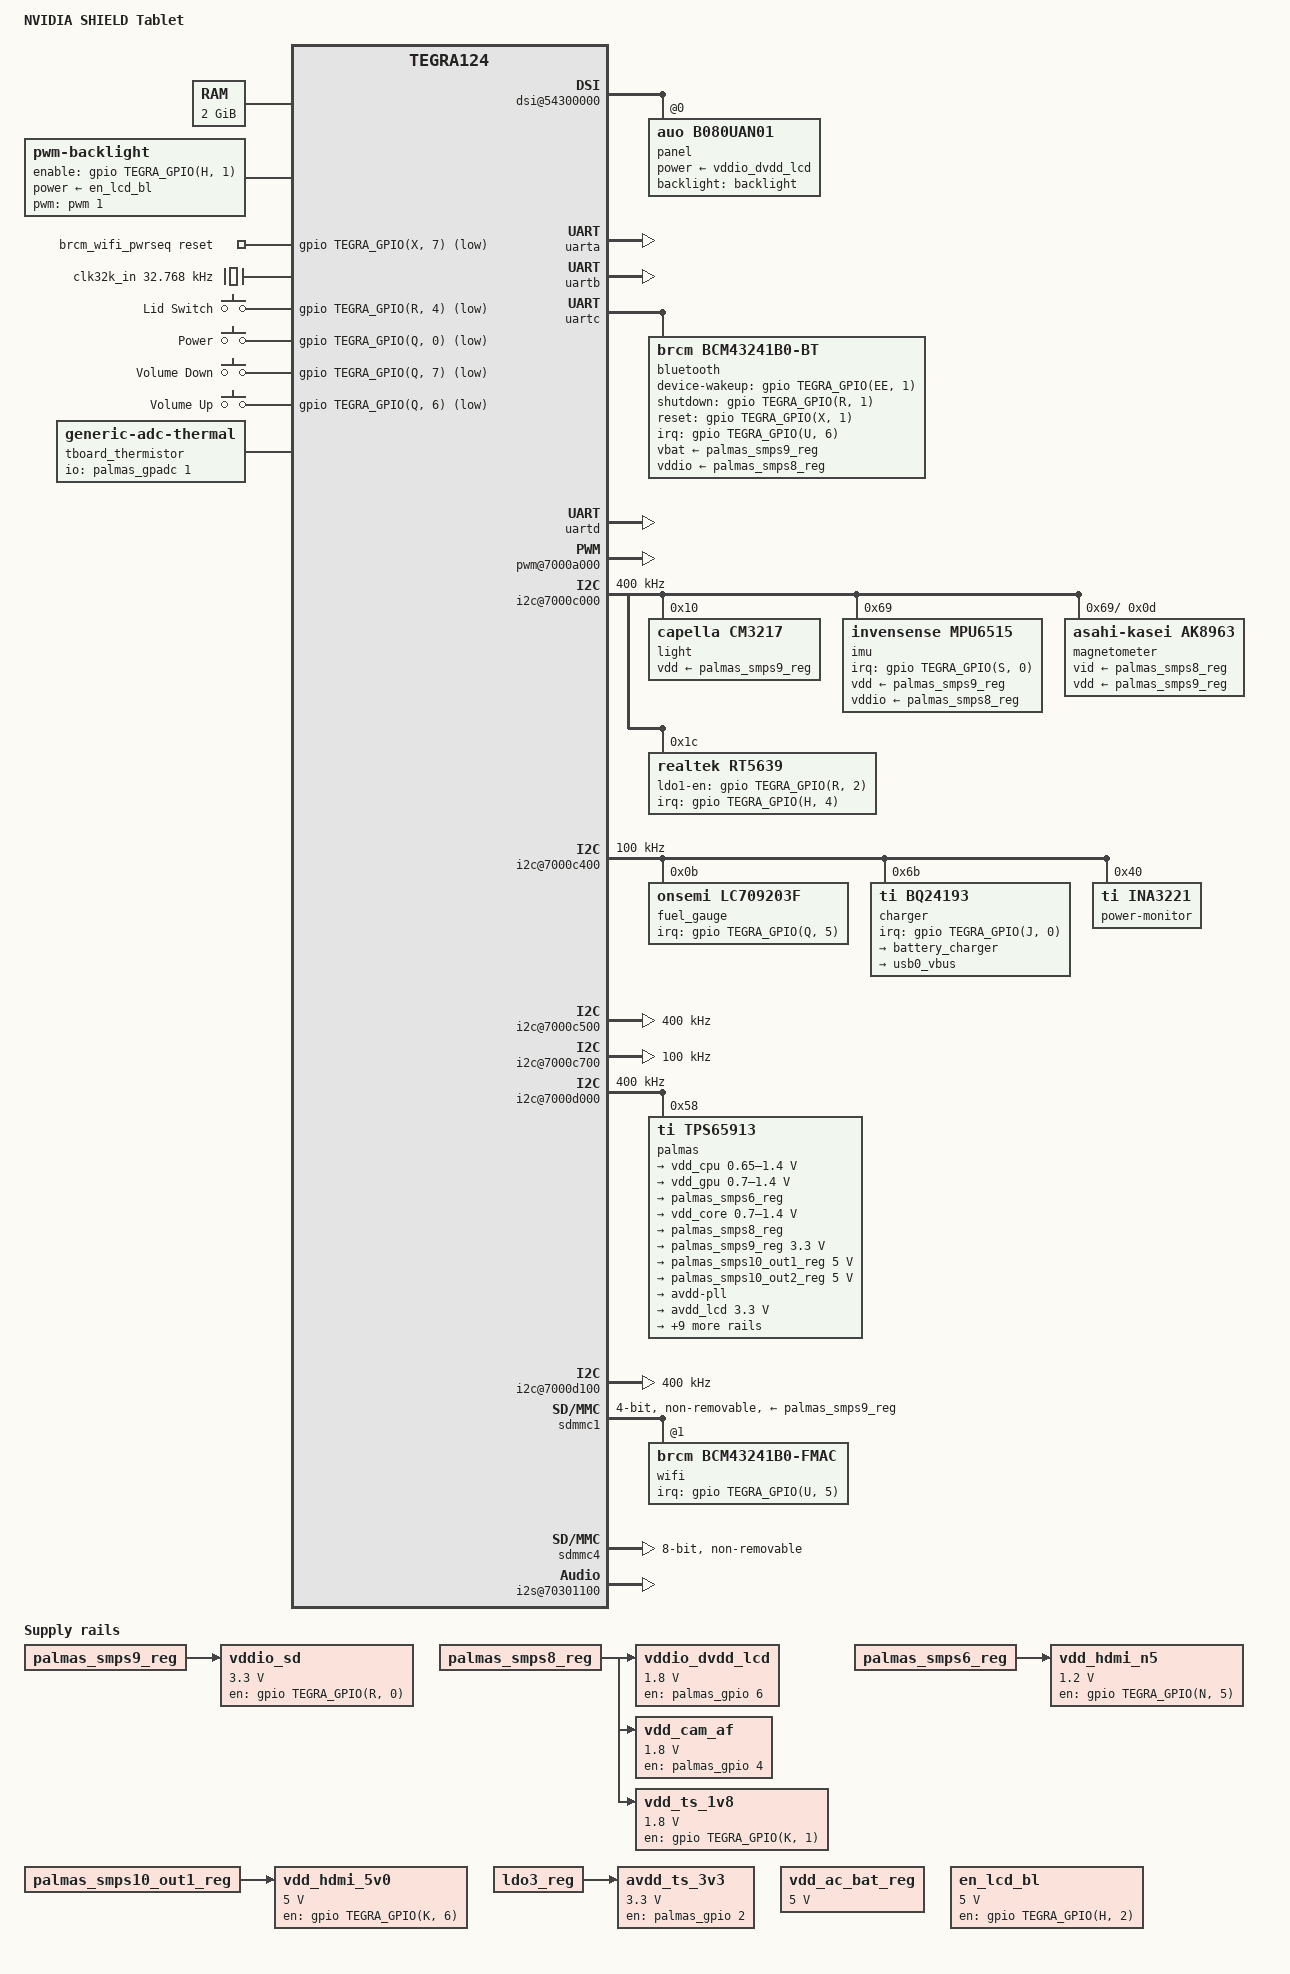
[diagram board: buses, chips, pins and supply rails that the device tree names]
// SPDX-License-Identifier: GPL-2.0
/dts-v1/;

#include <dt-bindings/input/input.h>
#include <dt-bindings/thermal/thermal.h>
#include <dt-bindings/sound/rt5640.h>

/* tegra124 */
#include "tegra124.dtsi"
/* tn8 */
#include "tegra124-tn8-emc.dtsi"
#include "tegra124-tn8-pinmux.dtsi"

/ {
	model = "NVIDIA SHIELD Tablet";
	compatible = "nvidia,tn8", "nvidia,tegra124";
	chassis-type = "tablet";

	aliases {
		mmc0 = &sdmmc4; /* eMMC */
		mmc1 = &sdmmc1; /* WiFi */

		rtc0 = &palmas;
		rtc1 = "/rtc@0,7000e000";

		serial0 = &uartd; /* Console */
		serial1 = &uartc; /* Bluetooth */

		serial2 = &uarta;
		serial3 = &uartb;
	};

	chosen {
		stdout-path = "serial0:115200n8";
		bootargs = "panic=5 loglevel=7 fbcon=rotate:3 gpt clk_ignore_unused root=/dev/mmcblk0p23 rw rootwait rootflags=defaults,noatime,nodiratime loop=media/0/Linux/archlinux.img loopflags=compress=zstd:3,commit=120,discard=async,noatime,nodiratime";
		/* NVIDIA moment. God why is the SHIELD bootloader like this ??? */
		linux,initrd-start = <0x81680000>;
		linux,initrd-end = <0x82800000>;
	};

	memory@80000000 {
		reg = <0x0 0x80000000 0x0 0x80000000>;
	};

	/* Another NVIDIA SHIELD bootloader moment */
	reserved-memory {
		#address-cells = <2>;
		#size-cells = <2>;
		ranges;

		bootloader_fb: bootloader-framebuffer@ad012000 {
			reg = <0x0 0xad012000 0x0 0x011e0000>;
			no-map;
		};

		framebuffer: framebuffer@f7c00000 {
			reg = <0x0 0xf7c00000 0x0 0x01200000>;
			no-map;
		};

		framebuffer2: framebuffer2@f8e00000 {
			reg = <0x0 0xf8e00000 0x0 0x04800000>;
			no-map;
		};

		nck: nck@fd700000 {
			reg = <0x0 0xfd700000 0x0 0x00100000>;
			no-map;
		};

		/* Downstream doesn't mention this area in its dmesg, but I was unable to remove it without causing a crash. */
		/* Oh well, it's 8.32 MB */
		would_be_freed_fd800000: would-be-freed@fd800000 {
			reg = <0x0 0xfd800000 0x0 0x007f0000>;
			no-map;
		};

		lp0: lp0@fdfff000 {
			reg = <0x0 0xfdfff000 0x0 0x00000820>;
			no-map;
		};

		tsec: tsec@fe000000 {
			reg = <0x0 0xfe000000 0x0 0x02000000>;
			no-map;
		};
	};

	backlight: backlight {
		compatible = "pwm-backlight"; // CONFIG_BACKLIGHT_PWM
		pwms = <&pwm 1 40000>;

		brightness-levels = <0 4 8 16 32 64 128 255>;
		default-brightness-level = <6>;

		power-supply = <&en_lcd_bl>;
		enable-gpios = <&gpio TEGRA_GPIO(H, 1) GPIO_ACTIVE_HIGH>;
	};

	// UNFINISHED
	host1x@50000000 {
		dsi@54300000 {
			status = "okay";

			avdd-dsi-csi-supply = <&ldo5_reg>;

			panel@0 {
				compatible = "auo,b080uan01"; // CONFIG_DRM_PANEL_SIMPLE
				reg = <0>;

				//avdd-supply = <&avdd_lcd>;
				power-supply = <&vddio_dvdd_lcd>;

				backlight = <&backlight>;
			};
		};
	};

	gpu@57000000 {
		status = "okay";
		vdd-supply = <&vdd_gpu>;
	};

	// UNKNOWN
	uarta: serial@70006000 {
		status = "okay";
		compatible = "nvidia,tegra124-hsuart"; // CONFIG_SERIAL_TEGRA
	};

	// UNKNOWN
	uartb: serial@70006040 {
		status = "okay";
		compatible = "nvidia,tegra124-hsuart"; // CONFIG_SERIAL_TEGRA
	};

	/* Bluetooth */
	uartc: serial@70006200 {
		compatible = "nvidia,tegra124-hsuart", "nvidia,tegra30-hsuart"; // CONFIG_SERIAL_TEGRA
		reset-names = "serial";
		/delete-property/ reg-shift;
		status = "okay";

		nvidia,adjust-baud-rates = <0 9600 100>,
					   <9600 115200 200>,
					   <1000000 4000000 136>;

		/*
			Will only function from a restart from downstream kernel for now.
			
			Note :
			- Copy /system/etc/firmware/bcm43241.hcd into /lib/firmware/brcm/BCM4334B0.nvidia,tn8.hcd in initramfs.
		*/
		bluetooth {
			compatible = "brcm,bcm43241b0-bt", "brcm,bcm4334-bt"; // CONFIG_BT_HCIUART_BCM
			max-speed = <4000000>;

			clocks = <&tegra_pmc TEGRA_PMC_CLK_BLINK>;
			clock-names = "txco";

			interrupt-parent = <&gpio>;
			interrupts = <TEGRA_GPIO(U, 6) IRQ_TYPE_EDGE_RISING>;
			interrupt-names = "host-wakeup";

			device-wakeup-gpios = <&gpio TEGRA_GPIO(EE, 1) GPIO_ACTIVE_HIGH>;
			shutdown-gpios = <&gpio TEGRA_GPIO(R, 1) GPIO_ACTIVE_HIGH>;
			reset-gpios = <&gpio TEGRA_GPIO(X, 1) GPIO_ACTIVE_HIGH>;

			vbat-supply = <&palmas_smps9_reg>;
			vddio-supply = <&palmas_smps8_reg>;
		};
	};

	// Console
	uartd: serial@70006300 {
		status = "okay";
		compatible = "nvidia,tegra124-uart"; // CONFIG_SERIAL_8250_TEGRA
	};

	pwm@7000a000 {
		status = "okay";
	};

	i2c@7000c000 {
		status = "okay";
		clock-frequency = <400000>;

		// Couldn't get that to work with cm3232 or cm32181
		light@10 {
			compatible = "capella,cm3217";
			reg = <0x10>;
			vdd-supply = <&palmas_smps9_reg>;
		};

		imu@69 {
			compatible = "invensense,mpu6515"; // CONFIG_INV_MPU6050_I2C
			reg = <0x69>;

			interrupt-parent = <&gpio>;
			interrupts = <TEGRA_GPIO(S, 0) IRQ_TYPE_EDGE_RISING>;

			vdd-supply   = <&palmas_smps9_reg>;
			vddio-supply = <&palmas_smps8_reg>;
			mount-matrix = "-1", "0",  "0",
						"0",  "1",  "0",
						"0",  "0", "-1";

			i2c-gate {
				#address-cells = <1>;
				#size-cells = <0>;

				magnetometer@d {
					compatible = "asahi-kasei,ak8963"; // CONFIG_AK8975
					reg = <0x0d>;

					vid-supply = <&palmas_smps8_reg>;
					vdd-supply = <&palmas_smps9_reg>;

					mount-matrix = "-1", "0",  "0",
								"0",  "1",  "0",
								"0",  "0", "-1";
				};
			};
		};

		rt5639: audio-codec@1c {
			compatible = "realtek,rt5639"; // CONFIG_SND_SOC_TEGRA_RT5640
			reg = <0x1c>;

			interrupt-parent = <&gpio>;
			interrupts = <TEGRA_GPIO(H, 4) IRQ_TYPE_EDGE_FALLING>;

			realtek,dmic1-data-pin = <RT5640_DMIC1_DATA_PIN_IN1P>;
			realtek,ldo1-en-gpios = <&gpio TEGRA_GPIO(R, 2) GPIO_ACTIVE_HIGH>;
			realtek,jack-detect-source = <RT5640_JD_SRC_HDA_HEADER>;
		};
	};

	// UNFINISHED
	i2c@7000c400 {
		status = "okay";
		clock-frequency = <100000>;

		// max17048@36 mentioned in downstream DTS but disabled.

		fuel_gauge: fuel-gauge@0b {
			compatible = "onsemi,lc709203f"; // CONFIG_FUEL_GAUGE_LC709203F
			reg = <0x0b>;

			interrupt-parent = <&gpio>;
			interrupts = <TEGRA_GPIO(Q, 5) IRQ_TYPE_NONE>;

			// Add monitored-battery ?
			power-supplies = <&charger>;

			onsemi,thermistor-beta = <3435>;
			onsemi,alert-low-rsoc = <0>;
			onsemi,alert-low-voltage = <0>;
		};

		charger: charger@6b {
			compatible = "ti,bq24193", "ti,bq24192"; // CONFIG_CHARGER_BQ24190
			reg = <0x6b>;

			interrupt-parent = <&gpio>;
			interrupts = <TEGRA_GPIO(J, 0) GPIO_ACTIVE_LOW>;

			omit-battery-class;
			// Add monitored-battery ?

			battery_charger: charger {
				regulator-name = "batt_regulator";
			};

			usb0_vbus: usb-otg-vbus {
				regulator-name = "vbus_regulator";
			};
		};

		power-monitor@40 {
			compatible = "ti,ina3221"; // CONFIG_SENSORS_INA3221
			reg = <0x40>;
			#address-cells = <1>;
			#size-cells = <0>;

			channel@0 {
				reg = <0x0>;
				label = "VDD_BAT";
				shunt-resistor-micro-ohms = <1000>;
			};

			channel@1 {
				reg = <0x1>;
				label = "VDD_USB_5V0";
				shunt-resistor-micro-ohms = <10000>;
			};

			channel@2 {
				reg = <0x2>;
				label = "VDD_SYS_MDM";
				shunt-resistor-micro-ohms = <1000>;
			};
		};
	};

	i2c@7000c500 {
		status = "okay";
		clock-frequency = <400000>;
	};

	i2c@7000c700 {
		status = "okay";
		clock-frequency = <100000>;
	};

	i2c@7000d000 {
		status = "okay";
		clock-frequency = <400000>;

		palmas: pmic@58 {
			compatible = "ti,tps65913", "ti,palmas"; // CONFIG_PINCTRL_PALMAS
			reg = <0x58>;
			interrupts = <GIC_SPI 86 IRQ_TYPE_LEVEL_HIGH>;

			#interrupt-cells = <2>;
			interrupt-controller;

			ti,system-power-controller;

			palmas_gpadc: adc {
				compatible = "ti,palmas-gpadc"; // CONFIG_PALMAS_GPADC
				interrupts = <18 IRQ_TYPE_NONE
						  16 IRQ_TYPE_NONE
						  17 IRQ_TYPE_NONE>;

				ti,channel0-current-microamp = <5>;
				ti,channel3-current-microamp = <400>;
				ti,enable-extended-delay;

				#io-channel-cells = <1>;
			};

			palmas_extcon: extcon {
				compatible = "ti,palmas-usb-vid"; // CONFIG_EXTCON_PALMAS

				ti,enable-vbus-detection;
				ti,enable-id-detection;

				ti,wakeup;
			};

			palmas_gpio: gpio {
				compatible = "ti,palmas-gpio"; // CONFIG_GPIO_PALMAS
				gpio-controller;
				#gpio-cells = <2>;
			};

			clk32kg_pmic: palmas-clk32k@0 {
				compatible = "ti,palmas-clk32kg"; // CONFIG_COMMON_CLK_PALMAS
				#clock-cells = <0>;
			};

			palmas_clk32k@1 {
				compatible = "ti,palmas-clk32kgaudio"; // CONFIG_COMMON_CLK_PALMAS
				#clock-cells = <0>;
			};

			pinmux {
				compatible = "ti,tps65913-pinctrl"; // CONFIG_PINCTRL_PALMAS

				pinctrl-names = "default";
				pinctrl-0 = <&palmas_default>;

				palmas_default: pinmux {
					powergood {
						pins = "powergood";
						function = "powergood";
					};

					vac {
						pins = "vac";
						function = "vac";
					};

					pin_gpio0 {
						pins = "gpio0";
						function = "id";
						bias-pull-up;
					};

					pin_gpio1 {
						pins = "gpio1";
						function = "gpio";
						bias-disable;
					};

					pin_gpio6 {
						pins = "gpio2", "gpio3", "gpio4", "gpio6", "gpio7";
						function = "gpio";
					};

					pin_gpio5 {
						pins = "gpio5";
						function = "clk32kgaudio";
					};
				};
			};

			pmic {
				compatible = "ti,tps65913-pmic", "ti,palmas-pmic"; // CONFIG_REGULATOR_PALMAS
				ldo1-in-supply = <&palmas_smps6_reg>;
				ldo5-in-supply = <&palmas_smps8_reg>;
				ldo9-in-supply = <&palmas_smps9_reg>;
				ldoln-in-supply = <&palmas_smps10_out2_reg>;
				ldousb-in-supply = <&palmas_smps10_out2_reg>;

				regulators {
					/* CPU core voltage (SMPS123, 0.65–1.4V) */
					vdd_cpu: smps123 {
						regulator-name = "vdd-cpu";
						regulator-min-microvolt = <650000>;
						regulator-max-microvolt = <1400000>;
						regulator-always-on;
						regulator-boot-on;
					};

					/* GPU core voltage (SMPS45, 0.7–1.4V) */
					vdd_gpu: smps45 {
						regulator-name = "vdd-gpu";
						regulator-min-microvolt = <700000>;
						regulator-max-microvolt = <1400000>;
						regulator-init-microvolt = <1000000>;
						regulator-always-on; // --- Could be necessary
						//regulator-boot-on;
					};

					/* DDR voltage (SMPS6, fixed 1.35V) */
					palmas_smps6_reg: smps6 {
						regulator-name = "vddio-ddr";
						// regulator-min-microvolt = <1350000>;
						// regulator-max-microvolt = <1350000>;
						regulator-always-on;
						regulator-boot-on;
					};

					/* SoC core voltage (SMPS7, 0.7–1.4V) */
					vdd_core: smps7 {
						regulator-name = "vdd-core";
						regulator-min-microvolt = <700000>;
						regulator-max-microvolt = <1400000>;
						regulator-always-on;
						regulator-boot-on;
					};

					/* 1.8V I/O rail (SMPS8) */
					palmas_smps8_reg: smps8 {
						regulator-name = "vdd-1v8";
						//regulator-min-microvolt = <1800000>;
						//regulator-max-microvolt = <1800000>;
						regulator-always-on;
						regulator-boot-on;
					};

					/* 3.3V sensor / SDMMC3 rail (SMPS9) */
					palmas_smps9_reg: smps9 {
						regulator-name = "vdd-snsr";
						regulator-min-microvolt = <3300000>;
						regulator-max-microvolt = <3300000>;
						regulator-always-on;
						regulator-boot-on;
					};

					/* 5V output 1 (SMPS10_OUT1) */
					palmas_smps10_out1_reg: smps10_out1 {
						regulator-name = "vdd-out1-5v0";
						regulator-min-microvolt = <5000000>;
						regulator-max-microvolt = <5000000>;
					};

					/* 5V output 2 (SMPS10_OUT2) */
					palmas_smps10_out2_reg: smps10_out2 {
						regulator-name = "vdd-out2-5v0";
						regulator-min-microvolt = <5000000>;
						regulator-max-microvolt = <5000000>;
					};

					/* PLL supply (LDO1, 1.05V) */
					ldo1 {
						regulator-name = "avdd-pll";
						//regulator-min-microvolt = <1050000>;
						//regulator-max-microvolt = <1050000>;
						regulator-always-on;
						regulator-boot-on;
					};

					/* LCD AVDD / touch analogue (LDO2, 3.3V) */
					avdd_lcd: ldo2 {
						regulator-name = "avdd-lcd";
						regulator-min-microvolt = <3300000>;
						regulator-max-microvolt = <3300000>;
						regulator-boot-on;
						regulator-always-on; // TEMPORARY
					};

					/* Touch supply (LDO3, 3.0V) */
					ldo3_reg: ldo3 {
						regulator-name = "vdd-touch";
						regulator-min-microvolt = <3300000>;
						regulator-max-microvolt = <3300000>;
						regulator-enable-ramp-delay = <3000>;
						ti,disable-pull-down;
					};

					/* Camera AVDD (LDO4, 2.7V) */
					ldo4 {
						regulator-name = "avdd-cam1";
						regulator-min-microvolt = <2700000>;
						regulator-max-microvolt = <2700000>;
					};

					/* DSI/CSI supply (LDO5, 1.2V) */
					ldo5_reg: ldo5 {
						regulator-name = "avdd-dsi-csi";
						//regulator-min-microvolt = <1200000>;
						//regulator-max-microvolt = <1200000>;
						regulator-always-on; // TEMPORARY
						regulator-boot-on; // TEMPORARY
					};

					/* Fuse blow (LDO6, 1.8V) */
					ldo6 {
						regulator-name = "vpp-fuse";
						regulator-min-microvolt = <1800000>;
						regulator-max-microvolt = <1800000>;
					};

					/* Camera AF VCM (LDO7, 2.7V) */
					ldo7 {
						regulator-name = "avdd-cam-af";
						regulator-min-microvolt = <2700000>;
						regulator-max-microvolt = <2700000>;
					};

					/* RTC supply (LDO8, 0.95V) */
					ldo8 {
						regulator-name = "vdd-rtc";
						regulator-min-microvolt = <950000>;
						regulator-max-microvolt = <950000>;
						regulator-always-on;
						regulator-boot-on;
						ti,enable-ldo8-tracking;
					};

					/* LDO9: variable 1.8/3.3 V for microSD I/O */
					ldo9 {
						regulator-name = "vddio-sdmmc-2";
						regulator-min-microvolt = <1800000>;
						regulator-max-microvolt = <3300000>;
					};

					/* LDOLN – HDMI / HV I/O supply */
					ldoln_reg: ldoln {
						regulator-name = "vddio-hv";
						// regulator-min-microvolt = <3300000>;
						// regulator-max-microvolt = <3300000>;
						regulator-always-on;
						regulator-boot-on;
					};

					/* LDOUSB – USB PHY AVDD 3.3 V */
					ldousb_reg: ldousb {
						regulator-name = "avdd-usb";
						// regulator-min-microvolt = <3300000>;
						// regulator-max-microvolt = <3300000>;
						regulator-always-on;
						regulator-boot-on;
					};
				};
			};

			rtc {
				compatible = "ti,palmas-rtc"; // CONFIG_RTC_DRV_PALMAS
				interrupt-parent = <&palmas>;
				interrupts = <8 0>;
			};
		};
	};

	i2c@7000d100 {
		status = "okay";
		clock-frequency = <400000>;
	};

	pmc@7000e400 {
		// nvidia,invert-interrupt; --- Downstream uses it, but mainline gets crashed ?

		/* --- VERIFY THE VALUES --- */
		nvidia,suspend-mode = <1>;
		nvidia,cpu-pwr-good-time = <500>;
		nvidia,cpu-pwr-off-time = <300>;
		nvidia,core-pwr-good-time = <3845 3845>;
		nvidia,core-pwr-off-time = <2000>;
		nvidia,core-power-req-active-high;
		nvidia,sys-clock-req-active-high;
		core-supply = <&vdd_core>;

		/* Clear DEV_ON bit in DEV_CTRL register of TPS65913 PMIC  */
		i2c-thermtrip {
			nvidia,i2c-controller-id = <4>;
			nvidia,bus-addr = <0x58>;
			nvidia,reg-addr = <0xA0>;
			nvidia,reg-data = <0x00>;
		};
	};

	brcm_wifi_pwrseq: pwrseq-wifi {
		compatible = "mmc-pwrseq-simple"; // CONFIG_PWRSEQ_SIMPLE

		clocks = <&tegra_pmc TEGRA_PMC_CLK_BLINK>;
		clock-names = "ext_clock";

		reset-gpios = <&gpio TEGRA_GPIO(X, 7) GPIO_ACTIVE_LOW>;
		post-power-on-delay-ms = <300>;
		power-off-delay-us = <300>;
	};

	/* Wi-Fi */
	sdmmc1: mmc@700b0000 {
		status = "okay";

		#address-cells = <1>;
		#size-cells = <0>;

		keep-power-in-suspend;
		bus-width = <4>;
		non-removable;

		mmc-pwrseq = <&brcm_wifi_pwrseq>;
		vmmc-supply = <&palmas_smps9_reg>;
		vqmmc-supply = <&palmas_smps8_reg>;

		/*
			Will only function from a restart from downstream kernel for now.
			
			Note :
			- Copy `/system/vendor/firmware/bcm43241/fw_bcmdhd.bin` into `/lib/firmware/brcm/brcmfmac43241b0-sdio.nvidia,tn8.bin` in initramfs.
			- Copy `/data/misc/wifi/firmware/nvram.txt` into `/lib/firmware/brcm/brcmfmac43241b0-sdio.txt` in initramfs.
			- clm_blob currently missing. Optional.
		*/
		wifi@1 {
			compatible = "brcm,bcm43241b0-fmac", "brcm,bcm4329-fmac"; // CONFIG_BRCMFMAC_SDIO
			reg = <1>;

			interrupt-parent = <&gpio>;
			interrupts = <TEGRA_GPIO(U, 5) IRQ_TYPE_LEVEL_HIGH>;
			interrupt-names = "host-wake";
		};
	};

	/* eMMC */
	sdmmc4: mmc@700b0600 {
		status = "okay";
		bus-width = <8>;
		non-removable;
	};

	/* CPU DFLL clock */
	clock@70110000 {
		status = "okay";
		nvidia,i2c-fs-rate = <400000>;
		vdd-cpu-supply = <&vdd_cpu>;
	};
	
	/* Audio Hub */
	ahub@70300000 {
		i2s@70301100 {
			status = "okay";
		};
	};

	clk32k_in: clock-32k {
		compatible = "fixed-clock"; // CONFIG_COMMON_CLK
		#clock-cells = <0>;
		clock-frequency = <32768>;
		clock-output-names = "ref-oscillator";
	};

	psci {
		compatible = "arm,psci";
		method = "smc";
		cpu_suspend = <0x84000001>;
		cpu_on = <0x84000003>;
	};

	/*
	 * A `psci` node is present in this file even though PSCI is NOT used to
	 * power on CPU1-3 - on this board's (Android L) bootloader, PSCI CPU_ON
	 * claims success but never actually powers them on. Do not remove the
	 * psci node thinking it's unused: the kernel still needs it for one
	 * thing - registering its reset vector with firmware, via a CPU_ON call
	 * targeting CPU0 (already running) rather than the CPUs actually being
	 * booted. Actual CPU1-3 bring-up happens directly via PMC instead.
	 */
	cpus {
		cpu0: cpu@0 {
			vdd-cpu-supply = <&vdd_cpu>;
			#cooling-cells = <2>;
		};

		cpu1: cpu@1 {
			#cooling-cells = <2>;
		};

		cpu2: cpu@2 {
			#cooling-cells = <2>;
		};

		cpu3: cpu@3 {
			#cooling-cells = <2>;
		};
	};

	extcon-keys {
		compatible = "gpio-keys"; // CONFIG_KEYBOARD_GPIO
		
		sw-lid {
			label = "Lid Switch";
			gpios = <&gpio TEGRA_GPIO(R, 4) GPIO_ACTIVE_LOW>;
			linux,code = <SW_LID>;
			linux,input-type = <EV_SW>;
			wakeup-source;
			debounce-interval = <300>;
		};
	};

	gpio-keys {
		compatible = "gpio-keys"; // CONFIG_KEYBOARD_GPIO

		key-power {
			label = "Power";
			gpios = <&gpio TEGRA_GPIO(Q, 0) GPIO_ACTIVE_LOW>;
			linux,code = <KEY_POWER>;
			debounce-interval = <10>;
			wakeup-source;
		};

		key-volume-down {
			label = "Volume Down";
			gpios = <&gpio TEGRA_GPIO(Q, 7) GPIO_ACTIVE_LOW>;
			linux,code = <KEY_VOLUMEDOWN>;
			debounce-interval = <10>;
		};

		key-volume-up {
			label = "Volume Up";
			gpios = <&gpio TEGRA_GPIO(Q, 6) GPIO_ACTIVE_LOW>;
			linux,code = <KEY_VOLUMEUP>;
			debounce-interval = <10>;
		};
	};

	hda@70030000 {
		status = "okay";
	};

	vdd_ac_bat_reg: regulator-acbat {
		compatible = "regulator-fixed"; // CONFIG_REGULATOR_FIXED_VOLTAGE
		regulator-name = "vdd_ac_bat";
		regulator-min-microvolt = <5000000>;
		regulator-max-microvolt = <5000000>;
		regulator-always-on;
	};
	en_lcd_bl: regulator-lcden {
		compatible = "regulator-fixed"; // CONFIG_REGULATOR_FIXED_VOLTAGE
		regulator-name = "en-lcd-bl";
		regulator-min-microvolt = <5000000>;
		regulator-max-microvolt = <5000000>;
		regulator-boot-on;
		gpio = <&gpio TEGRA_GPIO(H, 2) GPIO_ACTIVE_HIGH>;
		enable-active-high;
	};
	vddio_sd: regulator-sdmmc3 {
		compatible = "regulator-fixed"; // CONFIG_REGULATOR_FIXED_VOLTAGE
		regulator-name = "vddio_sd";
		regulator-min-microvolt = <3300000>;
		regulator-max-microvolt = <3300000>;
		gpio = <&gpio TEGRA_GPIO(R, 0) GPIO_ACTIVE_HIGH>;
		enable-active-high;
		vin-supply = <&palmas_smps9_reg>;
	};
	vddio_dvdd_lcd: regulator-lcd {
		compatible = "regulator-fixed"; // CONFIG_REGULATOR_FIXED_VOLTAGE
		regulator-name = "vddio_dvdd_lcd";
		regulator-min-microvolt = <1800000>;
		regulator-max-microvolt = <1800000>;
		gpio = <&palmas_gpio 6 GPIO_ACTIVE_HIGH>;
		enable-active-high;
		vin-supply = <&palmas_smps8_reg>;
	};
	vdd_cam_af: regulator-cam {
		compatible = "regulator-fixed"; // CONFIG_REGULATOR_FIXED_VOLTAGE
		regulator-name = "vdd_cam_af";
		regulator-min-microvolt = <1800000>;
		regulator-max-microvolt = <1800000>;
		gpio = <&palmas_gpio 4 GPIO_ACTIVE_HIGH>;
		enable-active-high;
		vin-supply = <&palmas_smps8_reg>;
	};
	vdd_hdmi_n5: regulator-hdmi {
		compatible = "regulator-fixed"; // CONFIG_REGULATOR_FIXED_VOLTAGE
		regulator-name = "vdd-hdmi-n5";
		regulator-min-microvolt = <1200000>;
		regulator-max-microvolt = <1200000>;
		enable-active-high;
		gpio = <&gpio TEGRA_GPIO(N, 5) GPIO_ACTIVE_HIGH>;
		vin-supply = <&palmas_smps6_reg>;
	};
	vdd_hdmi_5v0: regulator-hdmicon {
		compatible = "regulator-fixed"; // CONFIG_REGULATOR_FIXED_VOLTAGE
		regulator-name = "vdd_hdmi_5v0";
		regulator-min-microvolt = <5000000>;
		regulator-max-microvolt = <5000000>;
		gpio = <&gpio TEGRA_GPIO(K, 6) GPIO_ACTIVE_HIGH>;
		enable-active-high;
		vin-supply = <&palmas_smps10_out1_reg>;
	};
	vdd_ts_1v8: regulator-ts-1v8 {
		compatible = "regulator-fixed"; // CONFIG_REGULATOR_FIXED_VOLTAGE
		regulator-name = "vdd_ts_1v8";
		regulator-min-microvolt = <1800000>;
		regulator-max-microvolt = <1800000>;
		gpio = <&gpio TEGRA_GPIO(K, 1) GPIO_ACTIVE_HIGH>;
		enable-active-high;
		vin-supply = <&palmas_smps8_reg>;
	};
	avdd_ts_3v3: regulator-ts-3v3 {
		compatible = "regulator-fixed"; // CONFIG_REGULATOR_FIXED_VOLTAGE
		regulator-name = "avdd_ts_3v3";
		regulator-min-microvolt = <3300000>;
		regulator-max-microvolt = <3300000>;
		gpio = <&palmas_gpio 2 GPIO_ACTIVE_HIGH>;
		enable-active-high;
		vin-supply = <&ldo3_reg>;
	};

	sound {
		compatible = "nvidia,tegra-audio-rt5640-tn8", "nvidia,tegra-audio-rt5640"; // CONFIG_SND_SOC_TEGRA_RT5640
		nvidia,model = "NVIDIA SHIELD Tablet RT5639";

		nvidia,audio-routing =
			"Headphones", "HPOR",
			"Headphones", "HPOL",
			"Speakers", "SPORP",
			"Speakers", "SPORN",
			"Speakers", "SPOLP",
			"Speakers", "SPOLN",
			"Mic Jack", "MICBIAS1",
			"DMIC L1", "Int Mic",
			"DMIC L2", "Int Mic",
			"DMIC R1", "Int Mic",
			"DMIC R2", "Int Mic",
			"IN2P", "Mic Jack",
			"IN2N", "Mic Jack";

		nvidia,i2s-controller = <&tegra_i2s1>;
		nvidia,audio-codec = <&rt5639>;

		clocks = <&tegra_car TEGRA124_CLK_PLL_A>, <&tegra_car TEGRA124_CLK_PLL_A_OUT0>, <&tegra_pmc TEGRA_PMC_CLK_OUT_1>;
		clock-names = "pll_a", "pll_a_out0", "mclk";

		assigned-clocks = <&tegra_car TEGRA124_CLK_EXTERN1>, <&tegra_pmc TEGRA_PMC_CLK_OUT_1>;
		assigned-clock-parents = <&tegra_car TEGRA124_CLK_PLL_A_OUT0>, <&tegra_car TEGRA124_CLK_EXTERN1>;
	};

	// ---------------------------------- THERMAL ----------------------------------

	/*
	 * Downstream has Tdiode (which we can't implement) and Battery... which gets
	 * replaced by the fuel gauge's sensor in the final DTS.
	 */

	/* Note : downstream uses this one *essentially* as the skin sensor I believe... */
	tboard_thermistor: thermal-sensor-board {
		compatible = "generic-adc-thermal"; // CONFIG_GENERIC_ADC_THERMAL
		#thermal-sensor-cells = <0>;

		io-channels = <&palmas_gpadc 1>;
		io-channel-names = "sensor-channel";

		temperature-lookup-table = <
			 (-40000)  2578   (-39000)  2577   (-38000)  2576   (-37000)  2575
			 (-36000)  2574   (-35000)  2573   (-34000)  2572   (-33000)  2571
			 (-32000)  2569   (-31000)  2568   (-30000)  2567   (-29000)  2565
			 (-28000)  2563   (-27000)  2561   (-26000)  2559   (-25000)  2557
			 (-24000)  2555   (-23000)  2553   (-22000)  2550   (-21000)  2548
			 (-20000)  2545   (-19000)  2542   (-18000)  2539   (-17000)  2536
			 (-16000)  2532   (-15000)  2529   (-14000)  2525   (-13000)  2521
			 (-12000)  2517   (-11000)  2512   (-10000)  2507    (-9000)  2502
			  (-8000)  2497    (-7000)  2492    (-6000)  2486    (-5000)  2480
			  (-4000)  2473    (-3000)  2467    (-2000)  2460    (-1000)  2452
			        0  2445       1000  2437       2000  2428       3000  2419
			     4000  2410       5000  2401       6000  2391       7000  2380
			     8000  2369       9000  2358      10000  2346      11000  2334
			    12000  2322      13000  2308      14000  2295      15000  2281
			    16000  2266      17000  2251      18000  2236      19000  2219
			    20000  2203      21000  2186      22000  2168      23000  2150
			    24000  2131      25000  2112      26000  2092      27000  2072
			    28000  2052      29000  2030      30000  2009      31000  1987
			    32000  1964      33000  1941      34000  1918      35000  1894
			    36000  1870      37000  1845      38000  1820      39000  1795
			    40000  1769      41000  1743      42000  1717      43000  1691
			    44000  1664      45000  1637      46000  1610      47000  1583
			    48000  1555      49000  1528      50000  1500      51000  1472
			    52000  1445      53000  1417      54000  1390      55000  1362
			    56000  1334      57000  1307      58000  1280      59000  1253
			    60000  1226      61000  1199      62000  1172      63000  1146
			    64000  1120      65000  1094      66000  1069      67000  1044
			    68000  1019      69000   994      70000   970      71000   946
			    72000   922      73000   899      74000   877      75000   854
			    76000   832      77000   811      78000   789      79000   769
			    80000   748      81000   729      82000   709      83000   690
			    84000   671      85000   653      86000   635      87000   618
			    88000   601      89000   584      90000   568      91000   552
			    92000   537      93000   522      94000   507      95000   493
			    96000   479      97000   465      98000   452      99000   439
			   100000   427     101000   415     102000   403     103000   391
			   104000   380     105000   369     106000   359     107000   349
			   108000   339     109000   329     110000   320     111000   310
			   112000   302     113000   293     114000   285     115000   277
			   116000   269     117000   261     118000   254     119000   247
			   120000   240     121000   233     122000   226     123000   220
			   124000   214     125000   208
		>;
	};

	/* Thus, I copied the mocha's values. */
	thermal-zones {
		board-thermal {
			polling-delay-passive = <1000>; /* milliseconds */
			polling-delay = <10000>; /* milliseconds */

			thermal-sensors = <&tboard_thermistor>;

			trips {
				board_alert_trip: board-alert {
					/* throttle at 50C until temperature drops to 49.5C */
					temperature = <50000>; // downstream uses 40000
					hysteresis = <500>; // and 1000
					type = "passive";
				};

				/* Downstream doesn't have this one, but no reason not to include it */
				board-crit {
					/* shut down at 85C */
					temperature = <85000>;
					hysteresis = <2000>;
					type = "critical";
				};
			};

			cooling-maps {
				map-board {
					trip = <&board_alert_trip>;
					cooling-device = <&cpu0 THERMAL_NO_LIMIT THERMAL_NO_LIMIT>,
							 <&cpu1 THERMAL_NO_LIMIT THERMAL_NO_LIMIT>,
							 <&cpu2 THERMAL_NO_LIMIT THERMAL_NO_LIMIT>,
							 <&cpu3 THERMAL_NO_LIMIT THERMAL_NO_LIMIT>;
				};
			};
		};
	};
};
